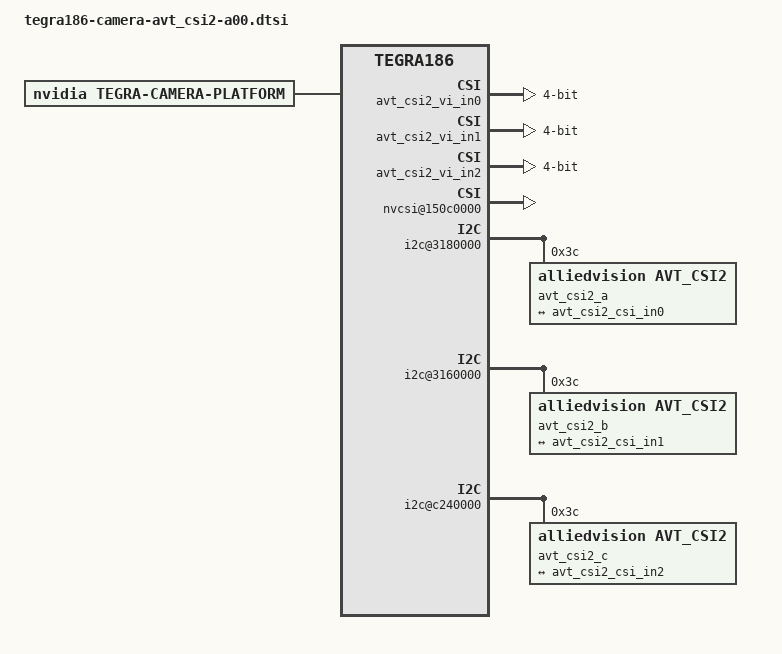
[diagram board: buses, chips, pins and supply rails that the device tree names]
/*
 * Copyright (C) 2012 - 2019 Allied Vision Technologies.  All Rights Reserved.
 *
 * This program is free software; you may redistribute it and/or modify
 * it under the terms of the GNU General Public License as published by
 * the Free Software Foundation; version 2 of the License.

 * THE SOFTWARE IS PRELIMINARY AND STILL IN TESTING AND VERIFICATION PHASE AND IS PROVIDED ON AN “AS IS” AND “AS AVAILABLE” BASIS AND IS BELIEVED TO CONTAIN DEFECTS.
 * A PRIMARY PURPOSE OF THIS EARLY ACCESS IS TO OBTAIN FEEDBACK ON PERFORMANCE AND THE IDENTIFICATION OF DEFECT SOFTWARE, HARDWARE AND DOCUMENTATION.

 * THE SOFTWARE IS PROVIDED "AS IS", WITHOUT WARRANTY OF ANY KIND,
 * EXPRESS OR IMPLIED, INCLUDING BUT NOT LIMITED TO THE WARRANTIES OF
 * MERCHANTABILITY, FITNESS FOR A PARTICULAR PURPOSE AND
 * NONINFRINGEMENT. IN NO EVENT SHALL THE AUTHORS OR COPYRIGHT HOLDERS
 * BE LIABLE FOR ANY CLAIM, DAMAGES OR OTHER LIABILITY, WHETHER IN AN
 * ACTION OF CONTRACT, TORT OR OTHERWISE, ARISING FROM, OUT OF OR IN
 * CONNECTION WITH THE SOFTWARE OR THE USE OR OTHER DEALINGS IN THE
 * SOFTWARE.
 */

/* camera control gpio definitions */
/ {
	host1x {
		vi@15700000 {
			status = "okay";
			num-channels = <3>;
			ports {
				#address-cells = <1>;
				#size-cells = <0>;
				port@0 {
					status ="okay";
					reg = <0>;
					avt_csi2_vi_in0: endpoint {
						status = "okay";
						port-index = <0>;
						bus-width = <4>;
						remote-endpoint = <&avt_csi2_csi_out0>;
					};
				};
				port@1 {
					status ="okay";
					reg = <1>;
					avt_csi2_vi_in1: endpoint {
						status = "okay";
						port-index = <1>;
						bus-width = <4>;
						remote-endpoint = <&avt_csi2_csi_out1>;
					};
				};
				port@2 {
					status ="okay";
					reg = <2>;
					avt_csi2_vi_in2: endpoint {
						status = "okay";
						port-index = <2>;
						bus-width = <4>;
						remote-endpoint = <&avt_csi2_csi_out2>;
					};
				};
			};
		};

		nvcsi@150c0000 {
			status = "okay";
			num-channels = <3>;
			#address-cells = <1>;
			#size-cells = <0>;
			channel@0 {
				status = "okay";
				reg = <0>;
				ports {
					#address-cells = <1>;
					#size-cells = <0>;
					port@0 {
						status = "okay";
						reg = <0>;
						avt_csi2_csi_in0: endpoint@0 {
							status = "okay";
							port-index = <0>;
							bus-width = <4>;
							remote-endpoint = <&avt_csi2_out0>;
						};
					};
					port@1 {
						status = "okay";
						reg = <1>;
						avt_csi2_csi_out0: endpoint@1 {
							status = "okay";
							remote-endpoint = <&avt_csi2_vi_in0>;
						};
					};
				};
			};
			channel@1 {
				status = "okay";
				reg = <1>;
				ports {
					#address-cells = <1>;
					#size-cells = <0>;
					port@0 {
						status = "okay";
						reg = <0>;
						avt_csi2_csi_in1: endpoint@2 {
							status = "okay";
							port-index = <1>;
							bus-width = <4>;
							remote-endpoint = <&avt_csi2_out1>;
						};
					};
					port@1 {
						status = "okay";
						reg = <1>;
						avt_csi2_csi_out1: endpoint@3 {
							status = "okay";
							remote-endpoint = <&avt_csi2_vi_in1>;
						};
					};
				};
			};
			channel@2 {
				status = "okay";
				reg = <2>;
				ports {
					#address-cells = <1>;
					#size-cells = <0>;
					port@0 {
						status = "okay";
						reg = <0>;
						avt_csi2_csi_in2: endpoint@4 {
							status = "okay";
							port-index = <2>;
							bus-width = <4>;
							remote-endpoint = <&avt_csi2_out2>;
						};
					};
					port@1 {
						status = "okay";
						reg = <1>;
						avt_csi2_csi_out2: endpoint@5 {
							status = "okay";
							remote-endpoint = <&avt_csi2_vi_in2>;
						};
					};
				};
			};
		};
	};

	i2c@3180000 {
		status = "okay";
		avt_csi2_a@3c {
			status = "okay";
			devnode = "video0";
			compatible = "alliedvision,avt_csi2";
			reg = <0x3c>;

			ports {
				#address-cells = <1>;
				#size-cells = <0>;

				port@0 {
					reg = <0>;
					avt_csi2_out0: endpoint {
						port-index = <0>;
						bus-width = <4>;
						remote-endpoint = <&avt_csi2_csi_in0>;
					};
				};
			};

			mode0 {
				num_lanes = "4";
				tegra_sinterface = "serial_a";
				discontinuous_clk = "no";
				cil_settletime = "0";
				embedded_metadata_height = "0";

				/* not verified: */
				mclk_khz = "24000";
				phy_mode = "DPHY";
				dpcm_enable = "false";

				active_w = "5488";
				active_h = "4112";
				pixel_t = "bayer_bggr";
				readout_orientation = "0";
				line_length = "5488";
				inherent_gain = "1";
				mclk_multiplier = "31.25";
				pix_clk_hz = "750000000";

				gain_factor = "16";
				framerate_factor = "1000000";
				exposure_factor = "1000000";
				min_gain_val = "16"; /* 1.0 */
				max_gain_val = "256"; /* 16.0 */
				step_gain_val = "1"; /* 0.125 */
				min_hdr_ratio = "1";
				max_hdr_ratio = "64";
				min_framerate = "1500000"; /* 1.5 */
				max_framerate = "30000000"; /* 30 */
				step_framerate = "1";
				min_exp_time = "34"; /* us */
				max_exp_time = "550385"; /* us */
				step_exp_time = "1";
			};
		};
	};

	i2c@3160000 {
		status = "okay";
		avt_csi2_b@3c {
			status = "okay";
			devnode = "video2";
			compatible = "alliedvision,avt_csi2";
			reg = <0x3c>;

			ports {
				#address-cells = <1>;
				#size-cells = <0>;

				port@0 {
					reg = <0>;
					avt_csi2_out1: endpoint {
						port-index = <1>;
						bus-width = <4>;
						remote-endpoint = <&avt_csi2_csi_in1>;
					};
				};
			};

			mode0 {
				num_lanes = "4";
				tegra_sinterface = "serial_a";
				discontinuous_clk = "no";
				cil_settletime = "0";
				embedded_metadata_height = "0";

				/* not verified: */
				mclk_khz = "24000";
				phy_mode = "DPHY";
				dpcm_enable = "false";

				active_w = "5488";
				active_h = "4112";
				pixel_t = "bayer_bggr";
				readout_orientation = "0";
				line_length = "5488";
				inherent_gain = "1";
				mclk_multiplier = "31.25";
				pix_clk_hz = "750000000";

				gain_factor = "16";
				framerate_factor = "1000000";
				exposure_factor = "1000000";
				min_gain_val = "16"; /* 1.0 */
				max_gain_val = "256"; /* 16.0 */
				step_gain_val = "1"; /* 0.125 */
				min_hdr_ratio = "1";
				max_hdr_ratio = "64";
				min_framerate = "1500000"; /* 1.5 */
				max_framerate = "30000000"; /* 30 */
				step_framerate = "1";
				min_exp_time = "34"; /* us */
				max_exp_time = "550385"; /* us */
				step_exp_time = "1";
			};
		};
	};

	i2c@c240000 {
		status = "okay";
		avt_csi2_c@3c {
			status = "okay";
			devnode = "video1";
			compatible = "alliedvision,avt_csi2";
			reg = <0x3c>;

			ports {
				#address-cells = <1>;
				#size-cells = <0>;

				port@0 {
					reg = <0>;
					avt_csi2_out2: endpoint {
						port-index = <2>;
						bus-width = <4>;
						remote-endpoint = <&avt_csi2_csi_in2>;
					};
				};
			};

			mode0 {
				num_lanes = "4";
				tegra_sinterface = "serial_a";
				discontinuous_clk = "no";
				cil_settletime = "0";
				embedded_metadata_height = "0";

				/* not verified: */
				mclk_khz = "24000";
				phy_mode = "DPHY";
				dpcm_enable = "false";

				active_w = "5488";
				active_h = "4112";
				pixel_t = "bayer_bggr";
				readout_orientation = "0";
				line_length = "5488";
				inherent_gain = "1";
				mclk_multiplier = "31.25";
				pix_clk_hz = "750000000";

				gain_factor = "16";
				framerate_factor = "1000000";
				exposure_factor = "1000000";
				min_gain_val = "16"; /* 1.0 */
				max_gain_val = "256"; /* 16.0 */
				step_gain_val = "1"; /* 0.125 */
				min_hdr_ratio = "1";
				max_hdr_ratio = "64";
				min_framerate = "1500000"; /* 1.5 */
				max_framerate = "30000000"; /* 30 */
				step_framerate = "1";
				min_exp_time = "34"; /* us */
				max_exp_time = "550385"; /* us */
				step_exp_time = "1";
			};
		};
	};

	tegra-camera-platform {
		compatible = "nvidia, tegra-camera-platform";

		/**
		* Physical settings to calculate max ISO BW
		*
		* num_csi_lanes = <>;
		* Total number of CSI lanes when all cameras are active
		*
		* max_lane_speed = <>;
		* Max lane speed in Kbit/s
		*
		* min_bits_per_pixel = <>;
		* Min bits per pixel
		*
		* vi_peak_byte_per_pixel = <>;
		* Max byte per pixel for the VI ISO case
		*
		* vi_bw_margin_pct = <>;
		* Vi bandwidth margin in percentage
		*
		* max_pixel_rate = <>;
		* Max pixel rate in Kpixel/s for the ISP ISO case
		*
		* isp_peak_byte_per_pixel = <>;
		* Max byte per pixel for the ISP ISO case
		*
		* isp_bw_margin_pct = <>;
		* Isp bandwidth margin in percentage
		*/
		num_csi_lanes = <4>;
		max_lane_speed = <1500000>;
		min_bits_per_pixel = <10>;
		vi_peak_byte_per_pixel = <2>;
		vi_bw_margin_pct = <25>;
		isp_peak_byte_per_pixel = <5>;
		isp_bw_margin_pct = <25>;

		/**
		 * The general guideline for naming badge_info contains 3 parts, and is as follows,
		 * The first part is the camera_board_id for the module; if the module is in a FFD
		 * platform, then use the platform name for this part.
		 * The second part contains the position of the module, ex. “rear” or “front”.
		 * The third part contains the last 6 characters of a part number which is found
		 * in the module's specsheet from the vender.
		 */
		modules {
			status = "okay";
			module0 {
				status = "okay";
				badge = "avt_csi2_0";
				position = "front";
				orientation = "1";
				drivernode0 {
					pcl_id = "v4l2_sensor";
					devname = "avt_csi2 0 2-003c";
					proc-device-tree = "/proc/device-tree/i2c@3180000/avt_csi2_a@3c";
				};
				drivernode1 {
					pcl_id = "v4l2_lens";
				};
			};
			module1 {
				status = "okay";
				badge = "avt_csi2_1";
				position = "front";
				orientation = "1";
				drivernode0 {
					pcl_id = "v4l2_sensor";
					devname = "avt_csi2 1 2-003c";
					proc-device-tree = "/proc/device-tree/i2c@3160000/avt_csi2_b@3c";
				};
				drivernode1 {
					pcl_id = "v4l2_lens";
				};
			};
			module2 {
				status = "okay";
				badge = "avt_csi2_2";
				position = "front";
				orientation = "1";
				drivernode0 {
					pcl_id = "v4l2_sensor";
					devname = "avt_csi2 2 2-003c";
					proc-device-tree = "/proc/device-tree/i2c@c240000/avt_csi2_c@3c";
				};
				drivernode1 {
					pcl_id = "v4l2_lens";
				};
			};
		};
	};
};
